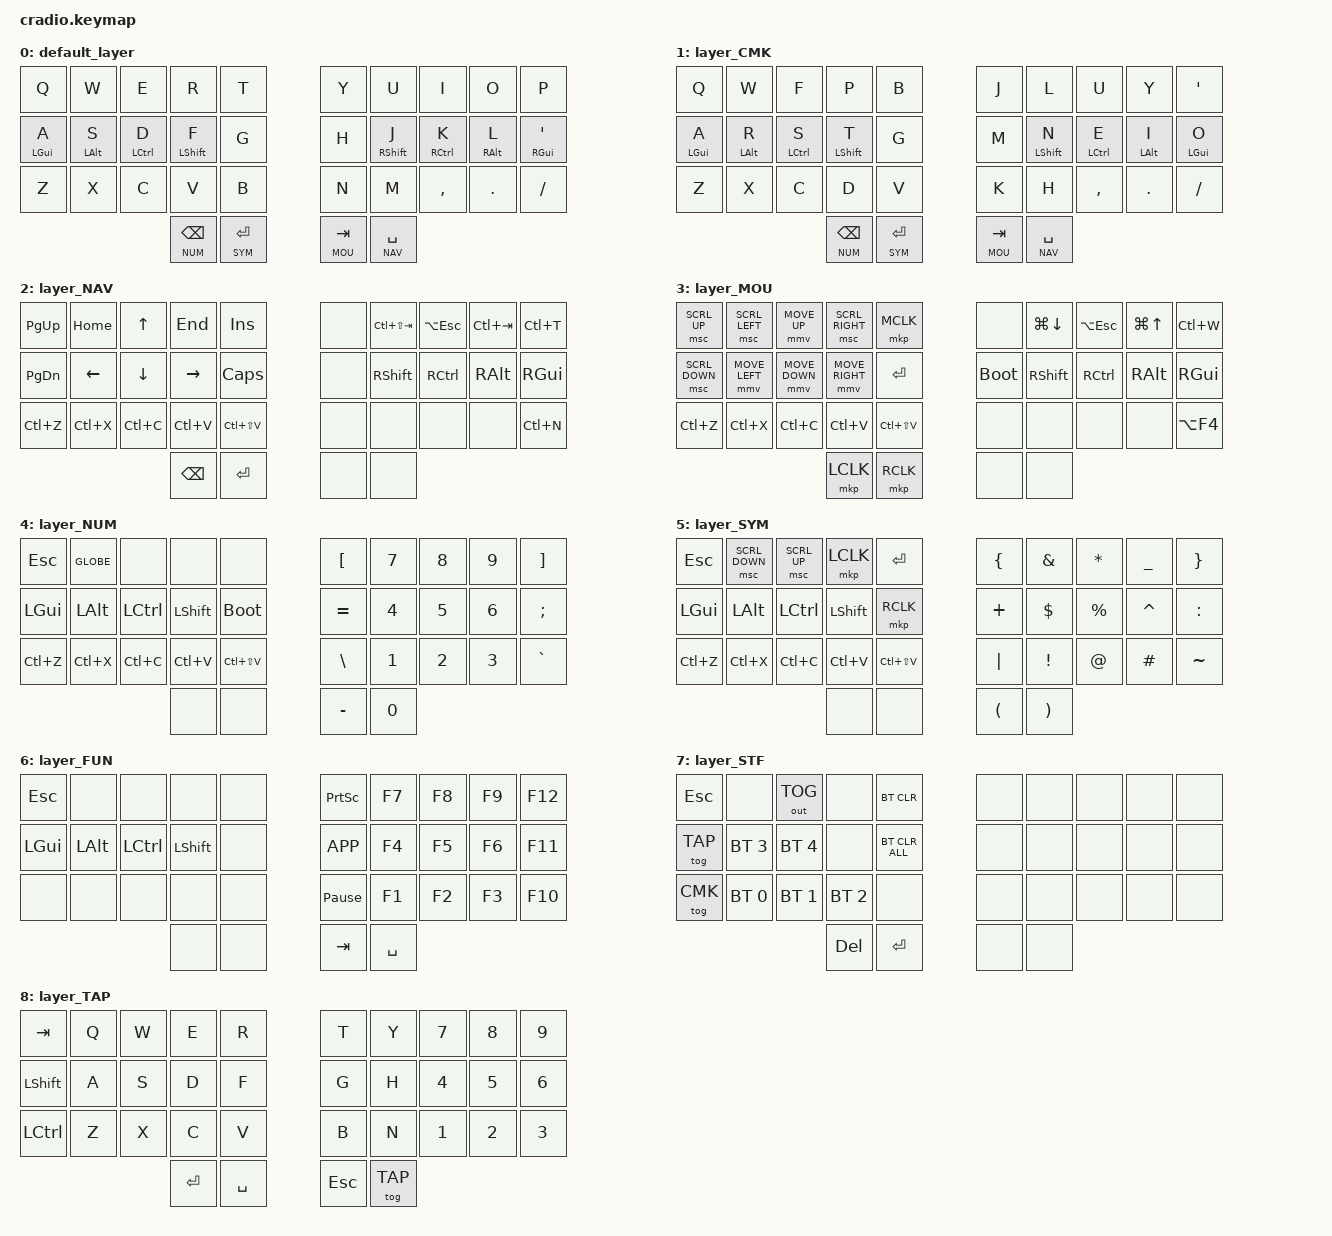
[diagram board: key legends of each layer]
#include <dt-bindings/zmk/keys.h>
#include <behaviors.dtsi>
#include <dt-bindings/zmk/bt.h>
#include <dt-bindings/zmk/outputs.h>

#define ZMK_POINTING_DEFAULT_MOVE_VAL 600  // default: 600
#define ZMK_POINTING_DEFAULT_SCRL_VAL 15    // default: 10

#include <dt-bindings/zmk/pointing.h>

#define DEFAULT 0
#define CMK 1
#define NAV 2
#define MOU 3
#define NUM 4
#define SYM 5
#define FUN 6
#define STF 7
#define TAP 8


/ {

    behaviors {
	hm: homerow_mods {
            compatible = "zmk,behavior-hold-tap";
            #binding-cells = <2>;
            tapping-term-ms = <150>;
            quick-tap-ms = <125>;
            flavor = "tap-preferred";
            bindings = <&kp>, <&kp>;
        };

	mmv: mouse_move {
	    compatible = "zmk,behavior-input-two-axis";
	    #binding-cells = <1>;
	    x-input-code = <INPUT_REL_X>;
	    y-input-code = <INPUT_REL_Y>;
	    time-to-max-speed-ms = <300>;
	    acceleration-exponent = <6>;
	};

	msc: mouse_scroll {
	    compatible = "zmk,behavior-input-two-axis";
	    #binding-cells = <1>;
	    x-input-code = <INPUT_REL_HWHEEL>;
	    y-input-code = <INPUT_REL_WHEEL>;
	    time-to-max-speed-ms = <300>;
	    acceleration-exponent = <4>;
	};
    };

    combos {
        compatible = "zmk,combos";
        combo_del_fun {
            timeout-ms = <50>;
            key-positions = <30 31>;
            bindings = <&lt FUN DEL>;
        };

        compatible = "zmk,combos";
        combo_esc_stuff {
            timeout-ms = <50>;
            key-positions = <32 33>;
            bindings = <&lt STF ESC>;
        };

        compatible = "zmk,combos";
        combo_lbrc {
            timeout-ms = <50>;
            key-positions = <1 11>;
            bindings = <&kp LBKT>;
        };
	
        compatible = "zmk,combos";
        combo_rbrc {
            timeout-ms = <50>;
            key-positions = <8 18>;
            bindings = <&kp RBKT>;
        };

        compatible = "zmk,combos";
        combo_lpren {
            timeout-ms = <50>;
            key-positions = <2 12>;
            bindings = <&kp LPAR>;
        };

        compatible = "zmk,combos";
        combo_rpren {
            timeout-ms = <50>;
            key-positions = <7 17>;
            bindings = <&kp RPAR>;
        };

        compatible = "zmk,combos";
        combo_mins {
            timeout-ms = <50>;
            key-positions = <3 13>;
            bindings = <&kp MINUS>;
        };

        compatible = "zmk,combos";
        combo_unds {
            timeout-ms = <50>;
            key-positions = <6 16>;
            bindings = <&kp UNDER>;
        };
		
        compatible = "zmk,combos";
        combo_mvwndow_right {
            timeout-ms = <50>;
            key-positions = <19 29>;
            bindings = <&kp LG(LS(RIGHT))>;
        };
		
        compatible = "zmk,combos";
        combo_mvwndow_left {
            timeout-ms = <50>;
            key-positions = <10 20>;
            bindings = <&kp LG(LS(LEFT))>;
        };
		
        compatible = "zmk,combos";
        combo_dsktp_right {
            timeout-ms = <50>;
            key-positions = <9 19>;
            bindings = <&kp LG(LC(RIGHT))>;
        };
		
        compatible = "zmk,combos";
        combo_dsktp_left {
            timeout-ms = <50>;
            key-positions = <0 10>;
            bindings = <&kp LG(LC(LEFT))>;
        };

        compatible = "zmk,combos";
        combo_middle_click {
            timeout-ms = <50>;
            key-positions = <30 31>;
	    layers = <MOU>;
            bindings = <&mkp MCLK>;
        };

        compatible = "zmk,combos";
        combo_mouse_toggle {
            timeout-ms = <50>;
            key-positions = <4 14>;
            bindings = <&tog MOU>;
        };
    };
	
    keymap {
        compatible = "zmk,keymap";

        default_layer {
            bindings = <
                &kp Q       &kp W       &kp E        &kp R         &kp T            &kp Y        &kp U         &kp I        &kp O       &kp P
                &hm LGUI A  &hm LALT S  &hm LCTRL D  &hm LSHIFT F  &kp G            &kp H        &hm RSHIFT J  &hm RCTRL K  &hm RALT L  &hm RGUI SQT
                &kp Z       &kp X       &kp C        &kp V         &kp B            &kp N        &kp M         &kp COMMA    &kp DOT     &kp SLASH
                                                     &lt NUM BSPC  &lt SYM ENTER    &lt MOU TAB  &lt NAV SPACE
            >;
        };

        layer_CMK {
            bindings = <
                &kp Q       &kp W       &kp F         &kp P          &kp B          &kp J          &kp L         &kp U        &kp Y       &kp QUOT
                &hm LGUI A  &hm LALT R  &hm LCTRL S   &hm LSHIFT T   &kp G          &kp M          &hm LSHIFT N  &hm LCTRL E  &hm LALT I  &hm LGUI O
                &kp Z       &kp X       &kp C         &kp D          &kp V          &kp K          &kp H         &kp COMMA    &kp DOT     &kp SLASH
                                                      &hm NUM BSPC   &hm SYM ENTER  &hm MOU TAB    &hm NAV SPACE
            >;
        };

        layer_NAV {
            bindings = <
                &kp PG_UP    &kp HOME    &kp UP      &kp END      &kp INS       &none    &kp LC(LS(TAB))   &kp LA(ESC)   &kp LC(TAB)   &kp LC(T)
                &kp PG_DN    &kp LEFT    &kp DOWN    &kp RIGHT    &kp CAPS      &none    &kp RSHIFT        &kp RCTRL     &kp RALT      &kp RGUI
                &kp LC(Z)    &kp LC(X)   &kp LC(C)   &kp LC(V)    &kp LC(LS(V)) &none    &none             &none         &none         &kp LC(N)
                                                     &kp BSPC     &kp ENTER     &none    &none
            >;
        };

        layer_MOU {
            bindings = <
                &msc SCRL_UP      &msc SCRL_LEFT       &mmv MOVE_UP       &msc SCRL_RIGHT  &mkp MCLK        &none          &kp LG(DOWN)     &kp LA(ESC)  &kp LG(UP)    &kp LC(W)
                &msc SCRL_DOWN    &mmv MOVE_LEFT       &mmv MOVE_DOWN     &mmv MOVE_RIGHT  &kp ENTER        &bootloader    &kp RSHIFT       &kp RCTRL    &kp RALT      &kp RGUI
                &kp LC(Z)         &kp LC(X)            &kp LC(C)          &kp LC(V)        &kp LC(LS(V))    &none          &none            &none        &none         &kp LA(F4)
                                                                          &mkp LCLK        &mkp RCLK        &none          &none
            >;
        };

        layer_NUM {
            bindings = <
                &kp ESC     &kp GLOBE   &none       &none         &none            &kp LBKT     &kp N7     &kp N8      &kp N9      &kp RBKT
                &kp LGUI    &kp LALT    &kp LCTRL   &kp LSHIFT    &bootloader      &kp EQUAL    &kp N4     &kp N5      &kp N6      &kp SEMI
                &kp LC(Z)   &kp LC(X)   &kp LC(C)   &kp LC(V)     &kp LC(LS(V))    &kp BSLH     &kp N1     &kp N2      &kp N3      &kp GRAVE
                                                    &none         &none            &kp MINUS    &kp N0
            >;
        };

        layer_SYM {
            bindings = <
                &kp ESC     &msc SCRL_DOWN   &msc SCRL_UP    &mkp LCLK    &kp ENTER        &kp LBRC    &kp AMPS    &kp STAR    &kp UNDER   &kp RBRC
                &kp LGUI    &kp LALT         &kp LCTRL       &kp LSHIFT   &mkp RCLK        &kp PLUS    &kp DLLR    &kp PRCNT   &kp CARET   &kp COLON
                &kp LC(Z)   &kp LC(X)        &kp LC(C)       &kp LC(V)    &kp LC(LS(V))    &kp PIPE    &kp EXCL    &kp AT      &kp HASH    &kp TILDE
                                                             &none        &none            &kp LPAR    &kp RPAR
            >;
        };

        layer_FUN {
            bindings = <
                &kp ESC      &none        &none        &none         &none       &kp PSCRN        &kp F7     &kp F8    &kp F9    &kp F12
                &kp LGUI     &kp LALT     &kp LCTRL    &kp LSHIFT    &none       &kp K_APP        &kp F4     &kp F5    &kp F6    &kp F11
                &none        &none        &none        &none         &none       &kp PAUSE_BREAK  &kp F1     &kp F2    &kp F3    &kp F10
                                                       &none         &none       &kp TAB          &kp SPACE
            >;
        };
		
        layer_STF {
            bindings = <
                &kp ESC        &none           &out OUT_TOG    &none             &bt BT_CLR       &none    &none    &none    &none    &none
                &tog TAP       &bt BT_SEL 3    &bt BT_SEL 4    &none             &bt BT_CLR_ALL   &none    &none    &none    &none    &none
                &tog CMK       &bt BT_SEL 0    &bt BT_SEL 1    &bt BT_SEL 2      &none            &none    &none    &none    &none    &none
                                               				   &kp DEL	         &kp ENTER        &none    &none
            >;
        };

        layer_TAP {
            bindings = <
                &kp TAB       &kp Q    &kp W    &kp E      &kp R       &kp T     &kp Y    &kp N7    &kp N8    &kp N9
                &kp LSHIFT    &kp A    &kp S    &kp D      &kp F       &kp G     &kp H    &kp N4    &kp N5    &kp N6
                &kp LCTRL     &kp Z    &kp X    &kp C      &kp V       &kp B     &kp N    &kp N1    &kp N2    &kp N3
                                                &kp ENTER  &kp SPACE   &kp ESC   &tog TAP
            >;
        };
	};
};



